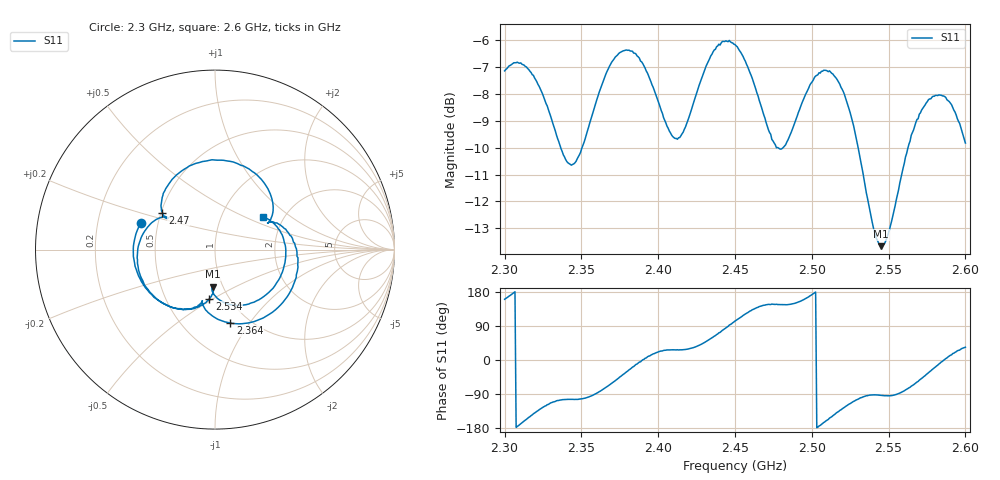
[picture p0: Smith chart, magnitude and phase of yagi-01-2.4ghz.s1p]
! NanoVNA-App
! Date: 2026-05-23 02:35:55
! Start: 2.3GHz Stop: 2.6GHz Points: 401
! S-Parameter data: F S11
# Hz S RI R 50
!  Frequency  S11_Real  S11_Imag
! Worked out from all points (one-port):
!   401 points, 2.3 GHz to 2.6 GHz, reference 50 ohm
!   lowest |S11| = -13.7 dB at 2.545 GHz (marker M1), VSWR 1.52, Z = 44.8 - j19.4 ohm
!   |S11| at or under -10 dB: 2.337 GHz to 2.35 GHz (13.86 MHz wide, 0.591 % of centre); 2.47794 GHz to 2.481289 GHz (3.349 MHz wide, 0.135 % of centre); 2.53 GHz to 2.563 GHz (32.46 MHz wide, 1.27 % of centre)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
!   S11 on the Smith chart (normalised r, x): 2.3 GHz: 0.40, +0.15; 2.364 GHz: 0.82, -0.81; 2.47 GHz: 0.51, +0.24; 2.534 GHz: 0.81, -0.48; 2.6 GHz: 1.58, +0.63
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2.3e9  -0.4137 0.1486
2.30975e9  -0.4483 -0.0732
2.32025e9  -0.3138 -0.2839
2.3375e9  -0.0791 -0.3008
2.35325e9  -0.0561 -0.33
2.36375e9  0.0847 -0.4089
2.375e9  0.3374 -0.3349
2.38475e9  0.4586 -0.1205
2.39525e9  0.4091 0.0934
2.4125e9  0.2922 0.1487
2.4215e9  0.3187 0.1902
2.432e9  0.2875 0.3511
2.4425e9  0.085 0.4916
2.45e9  -0.1084 0.48
2.45975e9  -0.2751 0.3384
2.4695e9  -0.2935 0.2067
2.4875e9  -0.2913 0.181
2.4965e9  -0.3834 0.1147
2.507e9  -0.4283 -0.0961
2.51675e9  -0.3123 -0.2841
2.525e9  -0.1552 -0.3329
2.534e9  -0.0313 -0.2742
2.54525e9  -0.0122 -0.2069
2.5625e9  0.0792 -0.3051
2.5715e9  0.245 -0.2794
2.582e9  0.3844 -0.0926
2.59175e9  0.3593 0.1097
2.6e9  0.2683 0.1791
